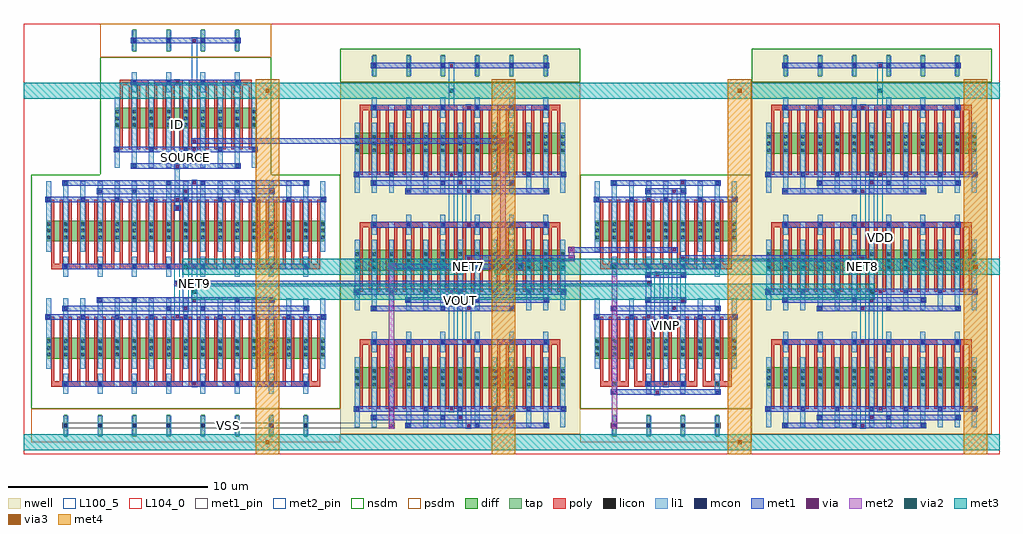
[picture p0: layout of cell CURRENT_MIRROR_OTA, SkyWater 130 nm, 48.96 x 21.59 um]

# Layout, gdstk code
import gdstk
lib = gdstk.Library(unit=1e-6, precision=1e-09)
def R(c, l, rs):  # rectangles x0, y0, x1, y1
    for r in rs: c.add(gdstk.rectangle(r[:2], r[2:], *l))
def A(c, l, x, y, w, h, nx, ny, dx, dy):  # array of equal rectangles
    R(c, l, [(x+i*dx, y+j*dy, x+i*dx+w, y+j*dy+h) for i in range(nx) for j in range(ny)])
nwell = (64, 20)
diff = (65, 20)
tap = (65, 44)
poly = (66, 20)
licon = (66, 44)
li1 = (67, 20)
mcon = (67, 44)
met1_pin = (68, 16)
met1 = (68, 20)
via = (68, 44)
met2_pin = (69, 16)
met2 = (69, 20)
via2 = (69, 44)
met3 = (70, 20)
via3 = (70, 44)
met4 = (71, 20)
nsdm = (93, 44)
psdm = (94, 20)
L100_5 = (100, 5)
L104_0 = (104, 0)

current_mirror_ota = lib.new_cell('CURRENT_MIRROR_OTA')
R(current_mirror_ota, nwell, [(15.48,0.42,27.52,19.74), (36.12,0.42,48.16,19.74)])
A(current_mirror_ota, diff, 16.215, 2.73, 10.57, 1.05, 1, 3, 0, 5.88)
A(current_mirror_ota, diff, 36.855, 2.73, 10.57, 1.05, 1, 3, 0, 5.88)
R(current_mirror_ota, diff, [(0.735,4.2,14.745,5.25), (28.255,4.2,35.385,5.25), (0.735,10.08,14.745,11.13), (28.255,10.08,35.385,11.13), (4.175,15.75,11.305,16.8)])
A(current_mirror_ota, tap, 1.635, 0.28, 0.17, 1.12, 8, 1, 1.72, 0)
A(current_mirror_ota, tap, 29.155, 0.28, 0.17, 1.12, 4, 1, 1.72, 0)
A(current_mirror_ota, tap, 17.115, 18.34, 0.17, 1.12, 6, 1, 1.72, 0)
A(current_mirror_ota, tap, 37.755, 18.34, 0.17, 1.12, 6, 1, 1.72, 0)
A(current_mirror_ota, tap, 5.075, 19.6, 0.17, 1.12, 4, 1, 1.72, 0)
A(current_mirror_ota, poly, 16.48, 1.68, 0.15, 3.36, 24, 3, 0.43, 5.88)
A(current_mirror_ota, poly, 37.12, 1.68, 0.15, 3.36, 24, 3, 0.43, 5.88)
A(current_mirror_ota, poly, 1, 2.805, 1.44, 0.27, 8, 2, 1.72, 5.88)
A(current_mirror_ota, poly, 28.52, 2.805, 1.44, 0.27, 4, 2, 1.72, 5.88)
A(current_mirror_ota, poly, 1, 2.94, 0.15, 3.36, 32, 2, 0.43, 5.88)
A(current_mirror_ota, poly, 28.52, 2.94, 0.15, 3.36, 16, 2, 0.43, 5.88)
A(current_mirror_ota, poly, 16.48, 4.905, 1.44, 0.27, 6, 3, 1.72, 5.88)
A(current_mirror_ota, poly, 37.12, 4.905, 1.44, 0.27, 6, 3, 1.72, 5.88)
A(current_mirror_ota, poly, 4.44, 14.7, 0.15, 3.36, 16, 1, 0.43, 0)
A(current_mirror_ota, poly, 4.44, 17.925, 1.44, 0.27, 4, 1, 1.72, 0)
A(current_mirror_ota, licon, 16.255, 2.81, 0.17, 0.17, 3, 3, 0.86, 0.34)
A(current_mirror_ota, licon, 17.975, 2.81, 0.17, 0.17, 3, 3, 0.86, 0.34)
A(current_mirror_ota, licon, 19.695, 2.81, 0.17, 0.17, 3, 3, 0.86, 0.34)
A(current_mirror_ota, licon, 21.415, 2.81, 0.17, 0.17, 3, 3, 0.86, 0.34)
A(current_mirror_ota, licon, 23.135, 2.81, 0.17, 0.17, 3, 3, 0.86, 0.34)
A(current_mirror_ota, licon, 24.855, 2.81, 0.17, 0.17, 3, 3, 0.86, 0.34)
A(current_mirror_ota, licon, 36.895, 2.81, 0.17, 0.17, 3, 3, 0.86, 0.34)
A(current_mirror_ota, licon, 38.615, 2.81, 0.17, 0.17, 3, 3, 0.86, 0.34)
A(current_mirror_ota, licon, 40.335, 2.81, 0.17, 0.17, 3, 3, 0.86, 0.34)
A(current_mirror_ota, licon, 42.055, 2.81, 0.17, 0.17, 3, 3, 0.86, 0.34)
A(current_mirror_ota, licon, 43.775, 2.81, 0.17, 0.17, 3, 3, 0.86, 0.34)
A(current_mirror_ota, licon, 45.495, 2.81, 0.17, 0.17, 3, 3, 0.86, 0.34)
A(current_mirror_ota, licon, 1.635, 2.855, 0.17, 0.17, 8, 2, 1.72, 5.88)
A(current_mirror_ota, licon, 29.155, 2.855, 0.17, 0.17, 4, 2, 1.72, 5.88)
A(current_mirror_ota, licon, 0.775, 4.32, 0.17, 0.17, 3, 3, 0.86, 0.34)
A(current_mirror_ota, licon, 2.495, 4.32, 0.17, 0.17, 3, 3, 0.86, 0.34)
A(current_mirror_ota, licon, 4.215, 4.32, 0.17, 0.17, 3, 3, 0.86, 0.34)
A(current_mirror_ota, licon, 5.935, 4.32, 0.17, 0.17, 3, 3, 0.86, 0.34)
A(current_mirror_ota, licon, 7.655, 4.32, 0.17, 0.17, 3, 3, 0.86, 0.34)
A(current_mirror_ota, licon, 9.375, 4.32, 0.17, 0.17, 3, 3, 0.86, 0.34)
A(current_mirror_ota, licon, 11.095, 4.32, 0.17, 0.17, 3, 3, 0.86, 0.34)
A(current_mirror_ota, licon, 12.815, 4.32, 0.17, 0.17, 3, 3, 0.86, 0.34)
A(current_mirror_ota, licon, 28.295, 4.32, 0.17, 0.17, 3, 3, 0.86, 0.34)
A(current_mirror_ota, licon, 30.015, 4.32, 0.17, 0.17, 3, 3, 0.86, 0.34)
A(current_mirror_ota, licon, 31.735, 4.32, 0.17, 0.17, 3, 3, 0.86, 0.34)
A(current_mirror_ota, licon, 33.455, 4.32, 0.17, 0.17, 3, 3, 0.86, 0.34)
A(current_mirror_ota, licon, 17.115, 4.955, 0.17, 0.17, 6, 3, 1.72, 5.88)
A(current_mirror_ota, licon, 37.755, 4.955, 0.17, 0.17, 6, 3, 1.72, 5.88)
A(current_mirror_ota, licon, 16.255, 8.69, 0.17, 0.17, 3, 3, 0.86, 0.34)
A(current_mirror_ota, licon, 17.975, 8.69, 0.17, 0.17, 3, 3, 0.86, 0.34)
A(current_mirror_ota, licon, 19.695, 8.69, 0.17, 0.17, 3, 3, 0.86, 0.34)
A(current_mirror_ota, licon, 21.415, 8.69, 0.17, 0.17, 3, 3, 0.86, 0.34)
A(current_mirror_ota, licon, 23.135, 8.69, 0.17, 0.17, 3, 3, 0.86, 0.34)
A(current_mirror_ota, licon, 24.855, 8.69, 0.17, 0.17, 3, 3, 0.86, 0.34)
A(current_mirror_ota, licon, 36.895, 8.69, 0.17, 0.17, 3, 3, 0.86, 0.34)
A(current_mirror_ota, licon, 38.615, 8.69, 0.17, 0.17, 3, 3, 0.86, 0.34)
A(current_mirror_ota, licon, 40.335, 8.69, 0.17, 0.17, 3, 3, 0.86, 0.34)
A(current_mirror_ota, licon, 42.055, 8.69, 0.17, 0.17, 3, 3, 0.86, 0.34)
A(current_mirror_ota, licon, 43.775, 8.69, 0.17, 0.17, 3, 3, 0.86, 0.34)
A(current_mirror_ota, licon, 45.495, 8.69, 0.17, 0.17, 3, 3, 0.86, 0.34)
A(current_mirror_ota, licon, 0.775, 10.2, 0.17, 0.17, 3, 3, 0.86, 0.34)
A(current_mirror_ota, licon, 2.495, 10.2, 0.17, 0.17, 3, 3, 0.86, 0.34)
A(current_mirror_ota, licon, 4.215, 10.2, 0.17, 0.17, 3, 3, 0.86, 0.34)
A(current_mirror_ota, licon, 5.935, 10.2, 0.17, 0.17, 3, 3, 0.86, 0.34)
A(current_mirror_ota, licon, 7.655, 10.2, 0.17, 0.17, 3, 3, 0.86, 0.34)
A(current_mirror_ota, licon, 9.375, 10.2, 0.17, 0.17, 3, 3, 0.86, 0.34)
A(current_mirror_ota, licon, 11.095, 10.2, 0.17, 0.17, 3, 3, 0.86, 0.34)
A(current_mirror_ota, licon, 12.815, 10.2, 0.17, 0.17, 3, 3, 0.86, 0.34)
A(current_mirror_ota, licon, 28.295, 10.2, 0.17, 0.17, 3, 3, 0.86, 0.34)
A(current_mirror_ota, licon, 30.015, 10.2, 0.17, 0.17, 3, 3, 0.86, 0.34)
A(current_mirror_ota, licon, 31.735, 10.2, 0.17, 0.17, 3, 3, 0.86, 0.34)
A(current_mirror_ota, licon, 33.455, 10.2, 0.17, 0.17, 3, 3, 0.86, 0.34)
A(current_mirror_ota, licon, 16.255, 14.57, 0.17, 0.17, 3, 3, 0.86, 0.34)
A(current_mirror_ota, licon, 17.975, 14.57, 0.17, 0.17, 3, 3, 0.86, 0.34)
A(current_mirror_ota, licon, 19.695, 14.57, 0.17, 0.17, 3, 3, 0.86, 0.34)
A(current_mirror_ota, licon, 21.415, 14.57, 0.17, 0.17, 3, 3, 0.86, 0.34)
A(current_mirror_ota, licon, 23.135, 14.57, 0.17, 0.17, 3, 3, 0.86, 0.34)
A(current_mirror_ota, licon, 24.855, 14.57, 0.17, 0.17, 3, 3, 0.86, 0.34)
A(current_mirror_ota, licon, 36.895, 14.57, 0.17, 0.17, 3, 3, 0.86, 0.34)
A(current_mirror_ota, licon, 38.615, 14.57, 0.17, 0.17, 3, 3, 0.86, 0.34)
A(current_mirror_ota, licon, 40.335, 14.57, 0.17, 0.17, 3, 3, 0.86, 0.34)
A(current_mirror_ota, licon, 42.055, 14.57, 0.17, 0.17, 3, 3, 0.86, 0.34)
A(current_mirror_ota, licon, 43.775, 14.57, 0.17, 0.17, 3, 3, 0.86, 0.34)
A(current_mirror_ota, licon, 45.495, 14.57, 0.17, 0.17, 3, 3, 0.86, 0.34)
A(current_mirror_ota, licon, 4.215, 15.83, 0.17, 0.17, 3, 3, 0.86, 0.34)
A(current_mirror_ota, licon, 5.935, 15.83, 0.17, 0.17, 3, 3, 0.86, 0.34)
A(current_mirror_ota, licon, 7.655, 15.83, 0.17, 0.17, 3, 3, 0.86, 0.34)
A(current_mirror_ota, licon, 9.375, 15.83, 0.17, 0.17, 3, 3, 0.86, 0.34)
A(current_mirror_ota, licon, 5.075, 17.975, 0.17, 0.17, 4, 2, 1.72, 2.1)
R(current_mirror_ota, licon, [(1.635,0.755,1.805,0.925), (1.635,0.755,1.805,0.925), (3.355,0.755,3.525,0.925), (3.355,0.755,3.525,0.925), (5.075,0.755,5.245,0.925), (5.075,0.755,5.245,0.925), (6.795,0.755,6.965,0.925), (6.795,0.755,6.965,0.925), (8.515,0.755,8.685,0.925), (8.515,0.755,8.685,0.925), (10.235,0.755,10.405,0.925), (10.235,0.755,10.405,0.925), (11.955,0.755,12.125,0.925), (11.955,0.755,12.125,0.925), (13.675,0.755,13.845,0.925), (13.675,0.755,13.845,0.925), (29.155,0.755,29.325,0.925), (29.155,0.755,29.325,0.925), (30.875,0.755,31.045,0.925), (30.875,0.755,31.045,0.925), (32.595,0.755,32.765,0.925), (32.595,0.755,32.765,0.925), (34.315,0.755,34.485,0.925), (34.315,0.755,34.485,0.925), (17.115,18.815,17.285,18.985), (17.115,18.815,17.285,18.985), (17.115,18.815,17.285,18.985), (18.835,18.815,19.005,18.985), (18.835,18.815,19.005,18.985), (18.835,18.815,19.005,18.985), (20.555,18.815,20.725,18.985), (20.555,18.815,20.725,18.985), (20.555,18.815,20.725,18.985), (22.275,18.815,22.445,18.985), (22.275,18.815,22.445,18.985), (22.275,18.815,22.445,18.985), (23.995,18.815,24.165,18.985), (23.995,18.815,24.165,18.985), (23.995,18.815,24.165,18.985), (25.715,18.815,25.885,18.985), (25.715,18.815,25.885,18.985), (25.715,18.815,25.885,18.985), (37.755,18.815,37.925,18.985), (37.755,18.815,37.925,18.985), (37.755,18.815,37.925,18.985), (39.475,18.815,39.645,18.985), (39.475,18.815,39.645,18.985), (39.475,18.815,39.645,18.985), (41.195,18.815,41.365,18.985), (41.195,18.815,41.365,18.985), (41.195,18.815,41.365,18.985), (42.915,18.815,43.085,18.985), (42.915,18.815,43.085,18.985), (42.915,18.815,43.085,18.985), (44.635,18.815,44.805,18.985), (44.635,18.815,44.805,18.985), (44.635,18.815,44.805,18.985), (46.355,18.815,46.525,18.985), (46.355,18.815,46.525,18.985), (46.355,18.815,46.525,18.985)])
A(current_mirror_ota, li1, 1.595, 0.335, 0.25, 1.01, 8, 2, 1.72, 2.1)
A(current_mirror_ota, li1, 29.115, 0.335, 0.25, 1.01, 4, 2, 1.72, 2.1)
A(current_mirror_ota, li1, 16.215, 0.755, 0.25, 3.53, 13, 3, 0.86, 5.88)
A(current_mirror_ota, li1, 36.855, 0.755, 0.25, 3.53, 13, 3, 0.86, 5.88)
A(current_mirror_ota, li1, 0.735, 3.695, 0.25, 3.53, 17, 2, 0.86, 5.88)
A(current_mirror_ota, li1, 28.255, 3.695, 0.25, 3.53, 9, 2, 0.86, 5.88)
A(current_mirror_ota, li1, 17.075, 4.535, 0.25, 1.01, 6, 3, 1.72, 5.88)
A(current_mirror_ota, li1, 37.715, 4.535, 0.25, 1.01, 6, 3, 1.72, 5.88)
A(current_mirror_ota, li1, 1.595, 8.315, 0.25, 1.01, 8, 1, 1.72, 0)
A(current_mirror_ota, li1, 29.115, 8.315, 0.25, 1.01, 4, 1, 1.72, 0)
A(current_mirror_ota, li1, 4.175, 13.775, 0.25, 3.53, 9, 1, 0.86, 0)
A(current_mirror_ota, li1, 5.035, 17.555, 0.25, 1.01, 4, 2, 1.72, 2.1)
A(current_mirror_ota, li1, 17.075, 18.395, 0.25, 1.01, 6, 1, 1.72, 0)
A(current_mirror_ota, li1, 37.715, 18.395, 0.25, 1.01, 6, 1, 1.72, 0)
R(current_mirror_ota, li1, [(7.185,11.675,7.435,14.365)])
A(current_mirror_ota, mcon, 1.635, 0.755, 0.17, 0.17, 8, 2, 1.72, 2.1)
A(current_mirror_ota, mcon, 18.835, 0.755, 0.17, 0.17, 4, 1, 3.44, 0)
A(current_mirror_ota, mcon, 30.875, 0.755, 0.17, 0.17, 3, 1, 1.72, 0)
A(current_mirror_ota, mcon, 37.755, 0.755, 0.17, 0.17, 3, 2, 3.44, 6.3)
A(current_mirror_ota, mcon, 17.115, 1.175, 0.17, 0.17, 3, 1, 3.44, 0)
A(current_mirror_ota, mcon, 39.475, 1.175, 0.17, 0.17, 3, 1, 3.44, 0)
A(current_mirror_ota, mcon, 16.255, 1.595, 0.17, 0.17, 7, 3, 1.72, 5.88)
A(current_mirror_ota, mcon, 36.895, 1.595, 0.17, 0.17, 7, 3, 1.72, 5.88)
A(current_mirror_ota, mcon, 17.115, 4.955, 0.17, 0.17, 6, 3, 1.72, 5.88)
A(current_mirror_ota, mcon, 37.755, 4.955, 0.17, 0.17, 6, 3, 1.72, 5.88)
A(current_mirror_ota, mcon, 0.775, 6.215, 0.17, 0.17, 9, 2, 1.72, 5.88)
A(current_mirror_ota, mcon, 28.295, 6.215, 0.17, 0.17, 5, 2, 1.72, 5.88)
A(current_mirror_ota, mcon, 13.675, 6.635, 0.17, 0.17, 4, 2, 3.44, 6.3)
A(current_mirror_ota, mcon, 29.155, 6.635, 0.17, 0.17, 3, 2, 5.16, 6.3)
A(current_mirror_ota, mcon, 18.835, 7.055, 0.17, 0.17, 3, 2, 3.44, 5.46)
A(current_mirror_ota, mcon, 1.635, 8.735, 0.17, 0.17, 8, 1, 1.72, 0)
A(current_mirror_ota, mcon, 37.755, 12.515, 0.17, 0.17, 3, 1, 3.44, 0)
A(current_mirror_ota, mcon, 4.215, 14.615, 0.17, 0.17, 5, 1, 1.72, 0)
A(current_mirror_ota, mcon, 5.075, 17.975, 0.17, 0.17, 4, 2, 1.72, 2.1)
A(current_mirror_ota, mcon, 17.115, 18.815, 0.17, 0.17, 6, 1, 1.72, 0)
A(current_mirror_ota, mcon, 37.755, 18.815, 0.17, 0.17, 6, 1, 1.72, 0)
R(current_mirror_ota, mcon, [(29.155,2.435,29.325,2.605), (34.315,2.435,34.485,2.605), (30.875,2.855,31.045,3.025), (32.595,2.855,32.765,3.025), (1.635,6.635,1.805,6.805), (6.795,6.635,6.965,6.805), (8.515,6.635,8.685,6.805), (42.915,6.635,43.085,6.805), (46.355,6.635,46.525,6.805), (3.355,7.055,3.525,7.225), (5.075,7.055,5.245,7.225), (10.235,7.055,10.405,7.225), (11.955,7.055,12.125,7.225), (30.875,7.055,31.045,7.225), (32.595,7.055,32.765,7.225), (30.875,8.315,31.045,8.485), (32.595,8.315,32.765,8.485), (29.155,8.735,29.325,8.905), (34.315,8.735,34.485,8.905), (7.225,11.675,7.395,11.845), (3.355,12.515,3.525,12.685), (5.075,12.515,5.245,12.685), (10.235,12.515,10.405,12.685), (11.955,12.515,12.125,12.685), (30.875,12.515,31.045,12.685), (32.595,12.515,32.765,12.685), (1.635,12.935,1.805,13.105), (6.795,12.935,6.965,13.105), (8.515,12.935,8.685,13.105), (42.915,12.935,43.085,13.105), (46.355,12.935,46.525,13.105), (5.075,13.775,5.245,13.945), (10.235,13.775,10.405,13.945), (6.795,14.195,6.965,14.365), (7.225,14.195,7.395,14.365), (8.515,14.195,8.685,14.365)])
R(current_mirror_ota, met1_pin, [(1.55,0.7,18.22,0.98), (29.07,0.7,34.57,0.98), (6.71,14.14,8.77,14.42)])
A(current_mirror_ota, met1, 16.17, 1.54, 10.66, 0.28, 1, 3, 0, 5.88)
A(current_mirror_ota, met1, 36.81, 1.54, 10.66, 0.28, 1, 3, 0, 5.88)
A(current_mirror_ota, met1, 17.03, 4.9, 8.94, 0.28, 1, 3, 0, 5.88)
A(current_mirror_ota, met1, 37.67, 4.9, 8.94, 0.28, 1, 3, 0, 5.88)
R(current_mirror_ota, met1, [(18.75,0.7,25.97,0.98), (37.67,0.7,44.89,0.98), (17.03,1.12,24.25,1.4), (39.39,1.12,46.61,1.4), (29.07,2.38,34.57,2.66), (1.55,2.8,13.93,3.08), (30.79,2.8,32.85,3.08), (0.69,6.16,14.79,6.44), (28.21,6.16,35.43,6.44), (1.55,6.58,13.93,6.86), (17.03,6.58,24.25,6.86), (29.07,6.58,34.57,6.86), (39.39,6.58,46.61,6.86), (3.27,7,12.21,7.28), (18.75,7,25.97,7.28), (30.79,7,32.85,7.28), (37.67,7,44.89,7.28), (7.15,7.84,31.12,8.12), (30.79,8.26,32.85,8.54), (1.55,8.68,13.93,8.96), (17.9,8.68,24.67,8.96), (29.07,8.68,34.57,8.96), (21.77,9.1,27.25,9.38), (32.52,9.1,41.87,9.38), (26.93,9.52,32.41,9.8), (7.14,11.62,7.48,11.9), (0.69,12.04,14.79,12.32), (28.21,12.04,35.43,12.32), (3.27,12.46,12.21,12.74), (18.75,12.46,25.97,12.74), (30.79,12.46,32.85,12.74), (37.67,12.46,44.89,12.74), (1.55,12.88,13.93,13.16), (17.03,12.88,24.25,13.16), (29.07,12.88,34.57,13.16), (39.39,12.88,46.61,13.16), (4.99,13.72,10.49,14), (4.13,14.56,11.35,14.84), (8.01,14.98,23.81,15.26), (4.99,17.92,10.49,18.2), (17.03,18.76,25.97,19.04), (37.67,18.76,46.61,19.04), (4.99,20.02,10.49,20.3)])
A(current_mirror_ota, via, 21.425, 1.185, 0.15, 0.15, 1, 3, 0, 5.88)
A(current_mirror_ota, via, 42.065, 1.185, 0.15, 0.15, 1, 3, 0, 5.88)
A(current_mirror_ota, via, 20.995, 1.605, 0.15, 0.15, 1, 3, 0, 5.88)
A(current_mirror_ota, via, 42.495, 1.605, 0.15, 0.15, 1, 3, 0, 5.88)
A(current_mirror_ota, via, 32.175, 6.645, 0.15, 0.15, 1, 3, 0, 2.94)
A(current_mirror_ota, via, 21.855, 9.165, 0.15, 0.15, 1, 3, 0, 1.68)
A(current_mirror_ota, via, 41.635, 9.165, 0.15, 0.15, 1, 3, 0, 1.68)
R(current_mirror_ota, via, [(17.985,0.765,18.135,0.915), (21.855,0.765,22.005,0.915), (29.165,0.765,29.315,0.915), (41.635,0.765,41.785,0.915), (31.315,2.445,31.465,2.595), (8.095,2.865,8.245,3.015), (31.745,2.865,31.895,3.015), (21.855,4.965,22.005,5.115), (41.635,4.965,41.785,5.115), (7.235,6.225,7.385,6.375), (30.885,6.225,31.035,6.375), (7.665,6.645,7.815,6.795), (21.855,6.645,22.005,6.795), (41.635,6.645,41.785,6.795), (8.095,7.065,8.245,7.215), (32.605,7.065,32.755,7.215), (7.235,7.905,7.385,8.055), (30.885,7.905,31.035,8.055), (31.315,8.325,31.465,8.475), (8.095,8.745,8.245,8.895), (17.985,8.745,18.135,8.895), (24.435,8.745,24.585,8.895), (31.745,8.745,31.895,8.895), (27.015,9.165,27.165,9.315), (32.605,9.165,32.755,9.315), (27.015,9.585,27.165,9.735), (7.235,11.685,7.385,11.835), (7.235,12.105,7.385,12.255), (30.885,12.105,31.035,12.255), (7.665,12.525,7.815,12.675), (8.095,12.945,8.245,13.095), (32.605,12.945,32.755,13.095), (7.235,13.785,7.385,13.935), (8.095,14.625,8.245,14.775), (8.095,15.045,8.245,15.195), (23.575,15.045,23.725,15.195), (21.855,16.725,22.005,16.875), (41.635,16.725,41.785,16.875), (7.235,17.985,7.385,18.135), (20.995,18.825,21.145,18.975), (42.495,18.825,42.645,18.975), (8.095,20.085,8.245,20.235)])
R(current_mirror_ota, met2_pin, [(21.79,0.68,22.07,16.96), (41.57,0.68,41.85,16.96), (21.36,1.1,21.64,13.18), (42,1.1,42.28,13.18), (20.93,1.52,21.21,19.06), (42.43,1.52,42.71,19.06), (31.25,2.36,31.53,8.56), (8.03,2.78,8.31,13.18), (31.68,2.78,31.96,8.98), (7.17,6.14,7.45,12.34), (30.82,6.14,31.1,12.34), (7.6,6.56,7.88,12.76), (32.11,6.56,32.39,12.76), (32.54,6.98,32.82,13.18), (7.17,13.7,7.45,18.22), (8.03,14.54,8.31,20.32)])
R(current_mirror_ota, met2, [(17.92,0.68,18.2,8.98), (29.1,0.68,29.38,9.005), (23.51,8.635,23.79,15.28), (24.37,8.635,24.65,9.005), (26.95,9.08,27.23,9.82)])
R(current_mirror_ota, via2, [(8.07,7.46,8.27,7.66), (42.04,7.46,42.24,7.66), (7.64,8.72,7.84,8.92), (21.4,8.72,21.6,8.92), (23.55,8.72,23.75,8.92), (24.41,8.72,24.61,8.92), (29.14,8.72,29.34,8.92), (20.97,17.54,21.17,17.74), (42.47,17.54,42.67,17.74)])
R(current_mirror_ota, met3, [(-0.4,-0.4,48.56,0.4), (8.005,7.16,42.305,7.96), (7.575,8.42,21.665,9.22), (23.25,8.42,48.56,9.22), (-0.4,17.24,48.56,18.04)])
R(current_mirror_ota, via3, [(11.74,-0.1,11.94,0.1), (35.42,-0.1,35.62,0.1), (23.58,8.72,23.78,8.92), (47.26,8.72,47.46,8.92), (11.74,17.54,11.94,17.74), (35.42,17.54,35.62,17.74)])
A(current_mirror_ota, met4, 11.25, -0.59, 1.18, 18.82, 4, 1, 11.84, 0)
R(current_mirror_ota, nsdm, [(0,1.68,15.48,13.44), (27.52,1.68,36.12,13.44), (3.44,13.44,12.04,19.32), (15.48,18.06,27.52,19.74), (36.12,18.06,48.16,19.74)])
R(current_mirror_ota, psdm, [(0,0,15.48,1.68), (27.52,0,36.12,1.68), (15.48,0.42,27.52,18.06), (36.12,0.42,48.16,18.06), (3.44,19.32,12.04,21)])
R(current_mirror_ota, L100_5, [(-0.4,-0.59,48.56,21)])
R(current_mirror_ota, L104_0, [(-0.4,-0.59,48.56,21)])
current_mirror_ota.add(gdstk.Label('SOURCE', (7.74,14.28), layer=68, texttype=5))
current_mirror_ota.add(gdstk.Label('VSS', (9.885,0.84), layer=68, texttype=5))
current_mirror_ota.add(gdstk.Label('ID', (7.31,15.96), layer=69, texttype=5))
current_mirror_ota.add(gdstk.Label('NET9', (8.17,7.98), layer=69, texttype=5))
current_mirror_ota.add(gdstk.Label('NET8', (41.71,8.82), layer=69, texttype=5))
current_mirror_ota.add(gdstk.Label('VDD', (42.57,10.29), layer=69, texttype=5))
current_mirror_ota.add(gdstk.Label('NET7', (21.93,8.82), layer=69, texttype=5))
current_mirror_ota.add(gdstk.Label('VOUT', (21.5,7.14), layer=69, texttype=5))
current_mirror_ota.add(gdstk.Label('VINP', (31.82,5.88), layer=69, texttype=5))
current_mirror_ota.add(gdstk.Label('VINN', (31.39,5.46), layer=69, texttype=5))

lib.write_gds('CURRENT_MIRROR_OTA.gds')
